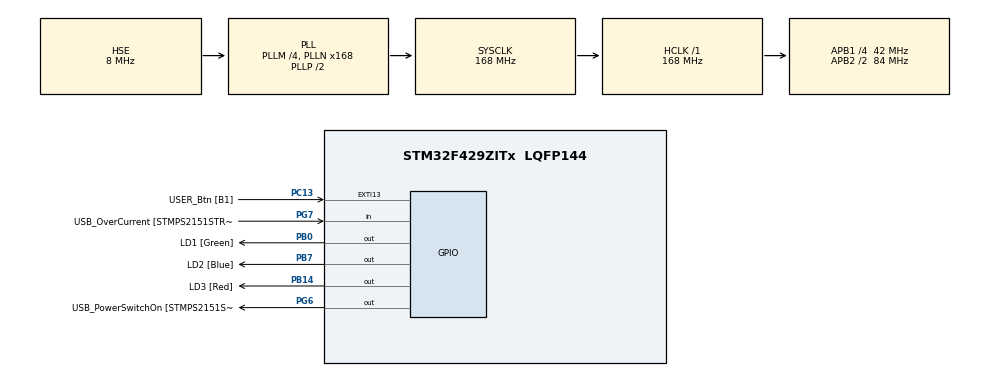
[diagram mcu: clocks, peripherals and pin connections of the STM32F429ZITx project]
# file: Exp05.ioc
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ADC1.Channel-1\#ChannelRegularConversion=ADC_CHANNEL_VREFINT
ADC1.Channel-2\#ChannelRegularConversion=ADC_CHANNEL_TEMPSENSOR
ADC1.NbrOfConversion=2
ADC1.NbrOfConversionFlag=1
ADC1.Rank-1\#ChannelRegularConversion=1
ADC1.Rank-2\#ChannelRegularConversion=2
ADC1.SamplingTime-1\#ChannelRegularConversion=ADC_SAMPLETIME_3CYCLES
ADC1.SamplingTime-2\#ChannelRegularConversion=ADC_SAMPLETIME_3CYCLES
ADC1.ScanConvMode=ENABLE
ADC1.master=1
Mcu.Family=STM32F4
Mcu.Name=STM32F429ZITx
Mcu.Package=LQFP144
NVIC.ADC_IRQn=true\:0\:0\:false\:false\:true\:true\:true
NVIC.PriorityGroup=NVIC_PRIORITYGROUP_4
PA1.GPIO_Label=RMII_REF_CLK [LAN8742A-CZ-TR_REFCLK0]
PA1.Signal=ETH_REF_CLK
PA10.GPIO_Label=USB_ID
PA10.Signal=USB_OTG_FS_ID
PA11.GPIO_Label=USB_DM
PA11.Signal=USB_OTG_FS_DM
PA12.GPIO_Label=USB_DP
PA12.Signal=USB_OTG_FS_DP
PA13.GPIO_Label=TMS
PA13.Mode=Serial_Wire
PA13.Signal=SYS_JTMS-SWDIO
PA14.GPIO_Label=TCK
PA14.Mode=Serial_Wire
PA14.Signal=SYS_JTCK-SWCLK
PA2.GPIO_Label=RMII_MDIO [LAN8742A-CZ-TR_MDIO]
PA2.Signal=ETH_MDIO
PA7.GPIO_Label=RMII_CRS_DV [LAN8742A-CZ-TR_CRS_DV]
PA7.Signal=ETH_CRS_DV
PA8.GPIO_Label=USB_SOF [TP1]
PA8.Signal=USB_OTG_FS_SOF
PA9.GPIO_Label=USB_VBUS
PA9.Signal=USB_OTG_FS_VBUS
PB0.GPIO_Label=LD1 [Green]
PB0.Signal=GPIO_Output
PB13.GPIO_Label=RMII_TXD1 [LAN8742A-CZ-TR_TXD1]
PB13.Signal=ETH_TXD1
PB14.GPIO_Label=LD3 [Red]
PB14.Signal=GPIO_Output
PB7.GPIO_Label=LD2 [Blue]
PB7.Signal=GPIO_Output
PC1.GPIO_Label=RMII_MDC [LAN8742A-CZ-TR_MDC]
PC1.Signal=ETH_MDC
PC13.GPIO_Label=USER_Btn [B1]
PC13.Signal=GPXTI13
PC14/OSC32_IN.Mode=LSE-External-Oscillator
PC14/OSC32_IN.Signal=RCC_OSC32_IN
PC15/OSC32_OUT.Mode=LSE-External-Oscillator
PC15/OSC32_OUT.Signal=RCC_OSC32_OUT
PC4.GPIO_Label=RMII_RXD0 [LAN8742A-CZ-TR_RXD0]
PC4.Signal=ETH_RXD0
PC5.GPIO_Label=RMII_RXD1 [LAN8742A-CZ-TR_RXD1]
PC5.Signal=ETH_RXD1
PD8.GPIO_Label=STLK_RX [STM32F103CBT6_PA3]
PD8.Signal=USART3_TX
PD9.GPIO_Label=STLK_TX [STM32F103CBT6_PA2]
PD9.Signal=USART3_RX
PG11.GPIO_Label=RMII_TX_EN [LAN8742A-CZ-TR_TXEN]
PG11.Signal=ETH_TX_EN
PG13.GPIO_Label=RMII_TXD0 [LAN8742A-CZ-TR_TXD0]
PG13.Signal=ETH_TXD0
PG6.GPIO_Label=USB_PowerSwitchOn [STMPS2151STR_EN]
PG6.Signal=GPIO_Output
PG7.GPIO_Label=USB_OverCurrent [STMPS2151STR_FAULT]
PG7.Signal=GPIO_Input
PH0/OSC_IN.GPIO_Label=MCO [STM32F103CBT6_PA8]
PH0/OSC_IN.Mode=HSE-External-Clock-Source
PH0/OSC_IN.Signal=RCC_OSC_IN
PH1/OSC_OUT.Mode=HSE-External-Clock-Source
PH1/OSC_OUT.Signal=RCC_OSC_OUT
ProjectManager.HeapSize=0x200
ProjectManager.StackSize=0x400
ProjectManager.TargetToolchain=MDK-ARM V5.27
RCC.48MHZClocksFreq_Value=48000000
RCC.AHBFreq_Value=168000000
RCC.APB1CLKDivider=RCC_HCLK_DIV4
RCC.APB1Freq_Value=42000000
RCC.APB1TimFreq_Value=84000000
RCC.APB2CLKDivider=RCC_HCLK_DIV2
RCC.APB2Freq_Value=84000000
RCC.APB2TimCLKDivider=2
RCC.APB2TimFreq_Value=168000000
RCC.CortexFreq_Value=168000000
RCC.HCLKFreq_Value=168000000
RCC.HSE_VALUE=8000000
RCC.HSI_VALUE=16000000
RCC.PLLM=4
RCC.PLLMUL=RCC_PLL_MUL9
RCC.PLLN=168
RCC.PLLQ=7
RCC.PLLSourceVirtual=RCC_PLLSOURCE_HSE
RCC.PRESCALERUSB=RCC_USBCLKSOURCE_PLL_DIV1_5
RCC.SYSCLKFreq_VALUE=168000000
RCC.SYSCLKSource=RCC_SYSCLKSOURCE_PLLCLK
RCC.SYSCLKSourceVirtual=RCC_SYSCLKSOURCE_PLLCLK
RCC.USBFreq_Value=48000000
RCC.VCOOutputFreq_Value=336000000
VP_ADC1_TempSens_Input.Mode=IN-TempSens
VP_ADC1_Vref_Input.Mode=IN-Vrefint
board=NUCLEO-F429ZI

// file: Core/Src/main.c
/* USER CODE BEGIN Header */
/**
  ******************************************************************************
  * @file           : main.c
  * @brief          : Main program body
  ******************************************************************************
  * @attention
  *
  * <h2><center>&copy; Copyright (c) 2021 STMicroelectronics.
  * All rights reserved.</center></h2>
  *
  * This software component is licensed by ST under BSD 3-Clause license,
  * the "License"; You may not use this file except in compliance with the
  * License. You may obtain a copy of the License at:
  *                        opensource.org/licenses/BSD-3-Clause
  *
  ******************************************************************************
  */
/* USER CODE END Header */
#include "main.h"
#include "adc.h"
#include "gpio.h"

/* USER CODE BEGIN Includes */
#include "adc_read.h"
/* USER CODE END Includes */

/* USER CODE BEGIN PV */
uint16_t vrefint = 0;
uint16_t adc_val = 0;
/* USER CODE END PV */

void SystemClock_Config(void);

/* USER CODE BEGIN 0 */
uint32_t vrefcal = 0;
/* USER CODE END 0 */

int main(void)
{

  /* MCU Configuration--------------------------------------------------------*/

  /* Reset of all peripherals, Initializes the Flash interface and the Systick. */
		HAL_Init();

  /* Configure the system clock */
  SystemClock_Config();

  /* Initialize all configured peripherals */
  MX_GPIO_Init();
  MX_ADC1_Init();
  /* USER CODE BEGIN 2 */

	//Configure TIM6 and enable interrupt
	TIM6->PSC= 20000;
	TIM6->ARR=4200;
	TIM6-> CR1 |= TIM_CR1_CEN;
	TIM6->DIER |= TIM_DIER_UIE;

	//Enable temperature sensor and VrefINT
	ADC->CCR |= ADC_CCR_TSVREFE;

	//Turn on ADC
	ADC1->CR2 |= ADC_CR2_ADON;

	//Select 2 conversions for each sequence
	ADC1->SQR1 |= ADC_SQR1_L_0;

	//Select channel 16 (temperature sensor)
	ADC1->SQR3 = 0x0;
	ADC1->SQR3 |= ADC_SQR3_SQ1_4;

	//Select channel 17 (vrefint)
	ADC1->SQR3 |= ADC_SQR3_SQ2_4;
	ADC1->SQR3 |= ADC_SQR3_SQ2_0;

	//Set EOC flag at the end of each conversion
	ADC1->CR2 |= ADC_CR2_EOCS;

	//Enable ADC interrupt
	ADC1->CR1 |= ADC_CR1_EOCIE;

	//Turn on scan mode
	ADC1->CR1 |= ADC_CR1_SCAN;

	//Start conversion
	ADC1->CR2 |= ADC_CR2_SWSTART;

  /* USER CODE END 2 */

  /* Infinite loop */
  /* USER CODE BEGIN WHILE */
  while (1)
  {
		vrefcal = get_temp(adc_val, vrefint);
    /* USER CODE END WHILE */

  }
}

void SystemClock_Config(void)
{
  RCC_OscInitTypeDef RCC_OscInitStruct = {0};
  RCC_ClkInitTypeDef RCC_ClkInitStruct = {0};

  /** Configure the main internal regulator output voltage
  */
  __HAL_RCC_PWR_CLK_ENABLE();
  __HAL_PWR_VOLTAGESCALING_CONFIG(PWR_REGULATOR_VOLTAGE_SCALE1);
  /** Initializes the RCC Oscillators according to the specified parameters
  * in the RCC_OscInitTypeDef structure.
  */
  RCC_OscInitStruct.OscillatorType = RCC_OSCILLATORTYPE_HSE;
  RCC_OscInitStruct.HSEState = RCC_HSE_BYPASS;
  RCC_OscInitStruct.PLL.PLLState = RCC_PLL_ON;
  RCC_OscInitStruct.PLL.PLLSource = RCC_PLLSOURCE_HSE;
  RCC_OscInitStruct.PLL.PLLM = 4;
  RCC_OscInitStruct.PLL.PLLN = 168;
  RCC_OscInitStruct.PLL.PLLP = RCC_PLLP_DIV2;
  RCC_OscInitStruct.PLL.PLLQ = 7;
  if (HAL_RCC_OscConfig(&RCC_OscInitStruct) != HAL_OK)
  {
    Error_Handler();
  }
  /** Initializes the CPU, AHB and APB buses clocks
  */
  RCC_ClkInitStruct.ClockType = RCC_CLOCKTYPE_HCLK|RCC_CLOCKTYPE_SYSCLK
                              |RCC_CLOCKTYPE_PCLK1|RCC_CLOCKTYPE_PCLK2;
  RCC_ClkInitStruct.SYSCLKSource = RCC_SYSCLKSOURCE_PLLCLK;
  RCC_ClkInitStruct.AHBCLKDivider = RCC_SYSCLK_DIV1;
  RCC_ClkInitStruct.APB1CLKDivider = RCC_HCLK_DIV4;
  RCC_ClkInitStruct.APB2CLKDivider = RCC_HCLK_DIV2;

  if (HAL_RCC_ClockConfig(&RCC_ClkInitStruct, FLASH_LATENCY_5) != HAL_OK)
  {
    Error_Handler();
  }
}

void Error_Handler(void)
{
  __disable_irq();
  while (1)
  {
  }
}

/************************ (C) COPYRIGHT STMicroelectronics *****END OF FILE****/
